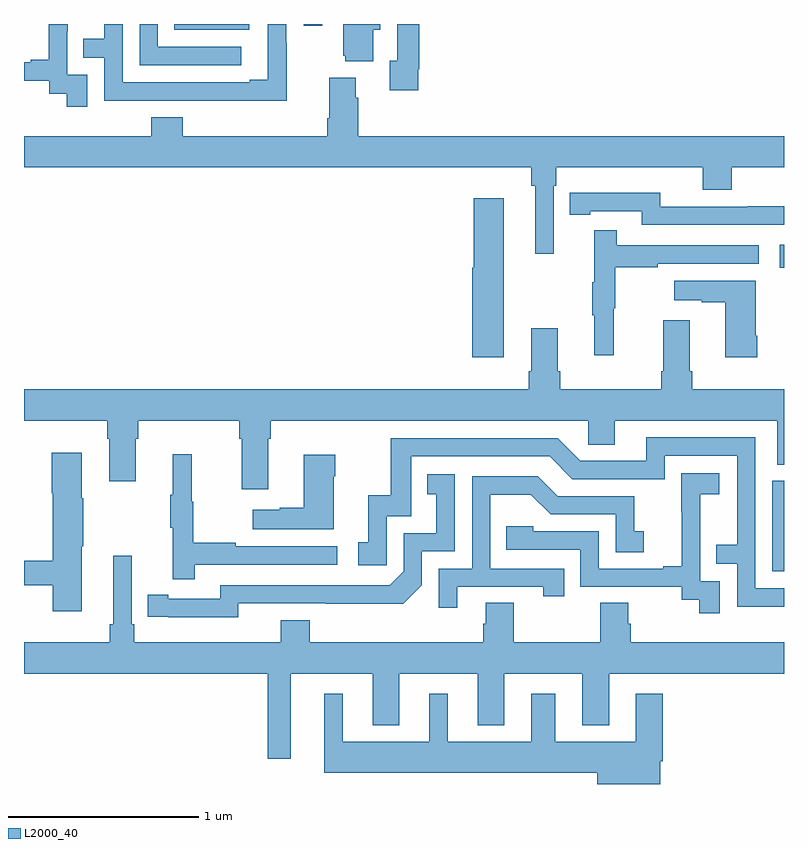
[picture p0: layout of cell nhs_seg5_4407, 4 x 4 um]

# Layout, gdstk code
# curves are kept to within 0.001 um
import gdstk
lib = gdstk.Library(unit=1e-6, precision=1e-09)
def R(c, l, rs):  # rectangles x0, y0, x1, y1
    for r in rs: c.add(gdstk.rectangle(r[:2], r[2:], *l))
def P(c, l, *ps):  # polygons
    for p in ps: c.add(gdstk.Polygon(p, *l))
L2000_40 = (2000, 40)

nhs_seg5_4407 = lib.new_cell('nhs_seg5_4407')
R(nhs_seg5_4407, L2000_40, [(372.939,903.918,373,904.395), (372.978,905.517,373,905.638), (369.79,906.77,370.186,906.799), (370.473,906.789,370.569,906.799)])
P(nhs_seg5_4407, L2000_40, [(370.144,906.678),(369.705,906.678),(369.705,906.799),(369.609,906.799),(369.609,906.582),(370.144,906.582)],
  [(370.383,906.701),(370.38,906.701),(370.38,906.799),(370.284,906.799),(370.284,906.505),(370.187,906.505),(370.187,906.492),(369.519,906.492),(369.519,906.799),(369.423,906.799),(369.423,906.722),(369.313,906.722),(369.313,906.621),(369.423,906.621),(369.423,906.396),(369.919,906.396),(369.919,906.395),(370.383,906.395)],
  [(369.333,906.531),(369.228,906.531),(369.228,906.761),(369.23,906.761),(369.23,906.799),(369.131,906.799),(369.131,906.61),(369.035,906.61),(369.035,906.597),(369,906.597),(369,906.501),(369.132,906.501),(369.132,906.433),(369.225,906.433),(369.225,906.363),(369.333,906.363)],
  [(370.837,906.77),(370.876,906.77),(370.876,906.799),(370.679,906.799),(370.679,906.633),(370.691,906.633),(370.691,906.602),(370.837,906.602)],
  [(371.074,906.562),(371.081,906.562),(371.081,906.799),(370.965,906.799),(370.965,906.606),(370.925,906.606),(370.925,906.45),(371.074,906.45)],
  [(371.787,905.948),(371.801,905.948),(371.801,906.044),(372.572,906.044),(372.572,905.927),(372.725,905.927),(372.725,906.044),(373,906.044),(373,906.208),(370.76,906.208),(370.76,906.41),(370.747,906.41),(370.747,906.517),(370.607,906.517),(370.607,906.304),(370.595,906.304),(370.595,906.208),(369.836,906.208),(369.836,906.307),(369.671,906.307),(369.671,906.208),(369,906.208),(369,906.044),(371.671,906.044),(371.671,905.948),(371.69,905.948),(371.69,905.589),(371.787,905.589)],
  [(373,905.84),(372.808,905.84),(372.808,905.838),(372.348,905.838),(372.348,905.911),(371.98,905.911),(371.98,905.91),(371.872,905.91),(371.872,905.794),(371.98,905.794),(371.98,905.814),(372.252,905.814),(372.252,905.742),(373,905.742)],
  [(371.524,905.881),(371.366,905.881),(371.366,905.517),(371.36,905.517),(371.36,905.046),(371.524,905.046)],
  [(372.104,905.304),(372.112,905.304),(372.112,905.518),(372.335,905.518),(372.335,905.538),(372.868,905.538),(372.868,905.634),(372.119,905.634),(372.119,905.713),(372.002,905.713),(372.002,905.441),(371.991,905.441),(371.991,905.267),(372.002,905.267),(372.002,905.055),(372.104,905.055)],
  [(372.858,905.158),(372.85,905.158),(372.85,905.449),(372.423,905.449),(372.423,905.345),(372.566,905.345),(372.566,905.335),(372.692,905.335),(372.692,905.046),(372.858,905.046)],
  [(370.285,904.616),(370.298,904.616),(370.298,904.712),(371.97,904.712),(371.97,904.585),(372.109,904.585),(372.109,904.712),(372.965,904.712),(372.965,904.48),(373,904.48),(373,904.876),(372.518,904.876),(372.518,904.972),(372.505,904.972),(372.505,905.239),(372.365,905.239),(372.365,904.972),(372.353,904.972),(372.353,904.876),(371.822,904.876),(371.822,904.972),(371.809,904.972),(371.809,905.197),(371.669,905.197),(371.669,904.972),(371.657,904.972),(371.657,904.876),(369,904.876),(369,904.712),(369.437,904.712),(369.437,904.616),(369.449,904.616),(369.449,904.392),(369.589,904.392),(369.589,904.616),(369.602,904.616),(369.602,904.712),(370.133,904.712),(370.133,904.616),(370.145,904.616),(370.145,904.35),(370.285,904.35)],
  [(373,903.828),(372.849,903.828),(372.849,904.623),(372.275,904.623),(372.275,904.5),(371.928,904.5),(371.808,904.62),(370.929,904.62),(370.929,904.318),(370.811,904.318),(370.811,904.071),(370.758,904.071),(370.758,903.951),(370.908,903.951),(370.908,904.209),(371.037,904.209),(371.037,904.524),(371.766,904.524),(371.886,904.404),(372.372,904.404),(372.372,904.527),(372.753,904.527),(372.753,904.058),(372.643,904.058),(372.643,903.957),(372.753,903.957),(372.753,903.732),(373,903.732)],
  [(369.304,904.051),(369.312,904.051),(369.312,904.304),(369.304,904.304),(369.304,904.543),(369.146,904.543),(369.146,904.33),(369.151,904.33),(369.151,903.974),(369,903.974),(369,903.846),(369.151,903.846),(369.151,903.708),(369.304,903.708)],
  [(369.899,903.954),(370.648,903.954),(370.648,904.05),(370.115,904.05),(370.115,904.07),(369.892,904.07),(369.892,904.284),(369.884,904.284),(369.884,904.534),(369.782,904.534),(369.782,904.321),(369.771,904.321),(369.771,904.147),(369.782,904.147),(369.782,903.876),(369.899,903.876)],
  [(370.63,904.418),(370.638,904.418),(370.638,904.531),(370.472,904.531),(370.472,904.253),(370.346,904.253),(370.346,904.243),(370.203,904.243),(370.203,904.139),(370.63,904.139)],
  [(372.663,903.867),(372.558,903.867),(372.558,904.097),(372.56,904.097),(372.56,904.325),(372.658,904.325),(372.658,904.435),(372.46,904.435),(372.46,904.229),(372.461,904.229),(372.461,903.946),(372.365,903.946),(372.365,903.933),(372.024,903.933),(372.024,904.128),(371.679,904.128),(371.679,904.155),(371.539,904.155),(371.539,904.032),(371.928,904.032),(371.928,903.837),(372.462,903.837),(372.462,903.769),(372.555,903.769),(372.555,903.699),(372.663,903.699)],
  [(370.128,903.75),(370.996,903.749),(371.094,903.846),(371.094,904.023),(371.268,904.023),(371.268,904.429),(371.122,904.429),(371.122,904.323),(371.171,904.323),(371.171,904.119),(370.998,904.119),(370.998,903.918),(370.926,903.846),(370.032,903.846),(370.032,903.774),(369.76,903.774),(369.76,903.794),(369.652,903.794),(369.652,903.678),(370.128,903.677)],
  [(371.281,903.837),(371.732,903.837),(371.732,903.786),(371.843,903.786),(371.843,903.933),(371.454,903.933),(371.454,904.322),(371.668,904.322),(371.772,904.218),(372.114,904.218),(372.114,904.02),(372.262,904.02),(372.262,904.129),(372.213,904.129),(372.213,904.314),(371.809,904.314),(371.704,904.419),(371.358,904.419),(371.358,903.933),(371.184,903.933),(371.184,903.726),(371.281,903.726)],
  [(370.405,903.38),(370.835,903.38),(370.835,903.107),(370.975,903.107),(370.975,903.38),(371.387,903.38),(371.387,903.107),(371.527,903.107),(371.527,903.38),(371.939,903.38),(371.939,903.107),(372.079,903.107),(372.079,903.38),(373,903.38),(373,903.544),(372.194,903.544),(372.194,903.642),(372.181,903.642),(372.181,903.752),(372.034,903.752),(372.034,903.544),(371.577,903.544),(371.577,903.752),(371.429,903.752),(371.429,903.642),(371.417,903.642),(371.417,903.544),(370.505,903.544),(370.505,903.661),(370.352,903.661),(370.352,903.544),(369.581,903.544),(369.581,903.64),(369.567,903.64),(369.567,904),(369.47,904),(369.47,903.64),(369.451,903.64),(369.451,903.544),(369,903.544),(369,903.38),(370.284,903.38),(370.284,902.931),(370.405,902.931)],
  [(372.349,902.918),(372.362,902.918),(372.362,903.274),(372.221,903.274),(372.221,903.022),(371.797,903.022),(371.797,903.274),(371.669,903.274),(371.669,903.022),(371.23,903.022),(371.23,903.274),(371.132,903.274),(371.132,903.022),(370.678,903.022),(370.678,903.274),(370.58,903.274),(370.58,902.858),(372.017,902.858),(372.017,902.799),(372.349,902.799)])

lib.write_gds('nhs_seg5_4407.gds')
